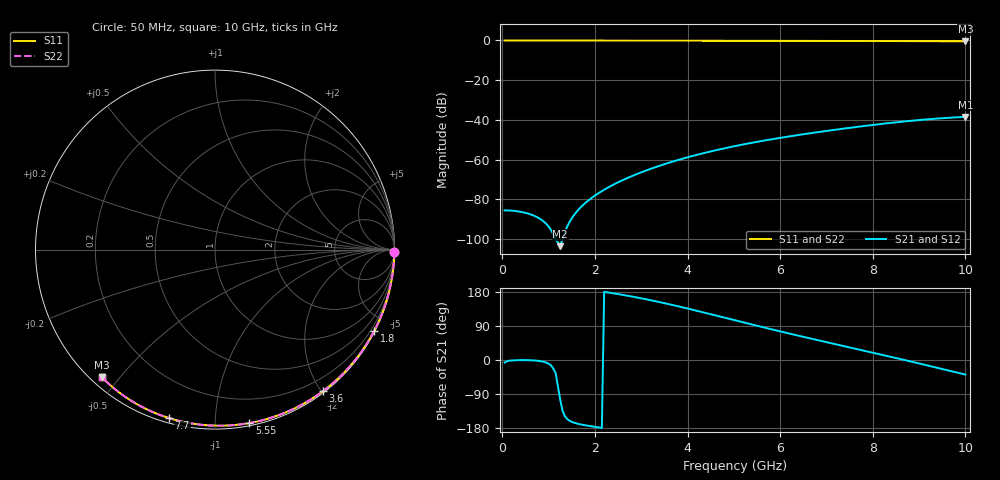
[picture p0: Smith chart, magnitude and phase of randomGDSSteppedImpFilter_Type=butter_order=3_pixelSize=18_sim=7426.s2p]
! freq	dB(S11)	phase(S11)	dB(S12)	phase(S12)
!  dB(S21)	phase(S21)	dB(S22)	phase(S22)
!S-par simulation data
#  GHz  S  DB  R 50
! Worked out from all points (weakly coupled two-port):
!   200 points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, 50 MHz to 10 GHz, reference 50 ohm
!   highest |S21| = -38.45 dB at 10 GHz (marker M1); lowest = -103.5 dB at 1.25 GHz (marker M2)
!   lowest |S11| = -0.4 dB at 10 GHz (marker M3), VSWR 39.05, Z = 1.54 - j22.4 ohm
!   |S11| at or under -10 dB: nowhere
!   |S22| runs from -0.4 to 0.0 dB; largest |S21 - S12| = 0
!   S11 on the Smith chart (normalised r, x): 50 MHz: open; 1.8 GHz: 0.04, -4.17; 3.6 GHz: 0.02, -2.02; 5.55 GHz: 0.02, -1.22; 7.7 GHz: 0.02, -0.76; 10 GHz: 0.03, -0.45
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0.05  -0.00 -0.8  -85.54 -6.8  -85.54 -6.8  -0.00 -0.8
0.65  -0.01 -9.8  -87.87 -0.9  -87.87 -0.9  -0.01 -9.8
1.25  -0.02 -18.8  -103.55 -103.8  -103.55 -103.8  -0.02 -18.8
1.75  -0.03 -26.2  -82.70 -171.4  -82.70 -171.4  -0.03 -26.2
1.8  -0.03 -27.0  -81.66 -172.5  -81.66 -172.5  -0.03 -27.0
1.9  -0.04 -28.5  -79.77 -174.5  -79.77 -174.5  -0.04 -28.5
2.05  -0.04 -30.6  -77.29 -177.4  -77.29 -177.4  -0.04 -30.6
2.25  -0.04 -33.6  -74.45 178.9  -74.45 178.9  -0.04 -33.6
2.45  -0.05 -36.5  -71.98 175.0  -71.98 175.0  -0.05 -36.5
2.65  -0.05 -39.3  -69.78 170.8  -69.78 170.8  -0.05 -39.3
3  -0.06 -44.3  -66.39 162.8  -66.39 162.8  -0.06 -44.3
3.4  -0.07 -50.0  -63.05 152.7  -63.05 152.7  -0.07 -50.0
3.6  -0.07 -52.8  -61.54 147.3  -61.54 147.3  -0.07 -52.8
4.3  -0.09 -62.4  -56.99 126.9  -56.99 126.9  -0.09 -62.4
5.05  -0.11 -72.3  -53.05 104.0  -53.05 104.0  -0.11 -72.3
5.55  -0.13 -78.8  -50.83 88.8  -50.83 88.8  -0.13 -78.8
6.1  -0.15 -85.8  -48.66 72.6  -48.66 72.6  -0.15 -85.8
6.7  -0.18 -93.2  -46.53 55.5  -46.53 55.5  -0.18 -93.2
7.7  -0.24 -105.3  -43.38 27.7  -43.38 27.7  -0.24 -105.3
8.35  -0.28 -112.9  -41.59 9.6  -41.59 9.6  -0.28 -112.9
9.2  -0.36 -122.6  -39.66 -15.0  -39.66 -15.0  -0.36 -122.6
10  -0.44 -131.7  -38.45 -38.5  -38.45 -38.5  -0.44 -131.7
